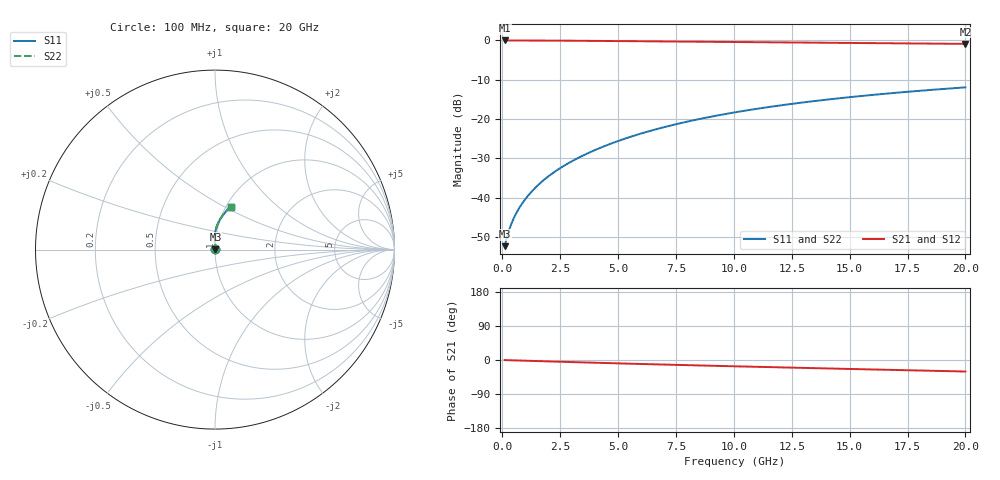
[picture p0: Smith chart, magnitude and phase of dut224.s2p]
! Touchstone file exported from HFSS 2024.1.0
!  File:  C:/UserFiles/LocalFiles/RDL_TSV_Batchsim/temp_RDL_bottom_224_1778700550.aedt
!  Generated:  03:31:32 AM May 14, 2026
!  Design:  RDL_bottom
!  Project:  temp_RDL_bottom_224_1778700550
!  Setup:  Setup1
!  Solution:  Sweep
! Variables:
!  dtsv = 10.80580581um
!  hbump = 3um
!  htsv = 52.51um
!  ldown = 449.67um
!  lrdl = 100um
!  p = 40
!  p1 = 48.57um
!  rhole = 1um
!  t = 450um
!  tdown = 3.03um
!  trdl = 3.915915916um
!  wdown = 28.08um
!  wrdl = 20um
# GHz S MA R 50.000000
! Terminal data exported
! Port[1] = RDL1_T1
! Port[2] = RDL1_T2
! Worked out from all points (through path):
!   200 points, 100 MHz to 20 GHz, reference 50 ohm
!   highest |S21| = -0.02 dB at 100 MHz (marker M1); lowest = -0.9 dB at 20 GHz (marker M2)
!   group delay of S21, straight-line fit = 4.15 ps
!   lowest |S11| = -52.3 dB at 100 MHz (marker M3), VSWR 1.00, Z = 50.2 + j0.112 ohm
!   |S11| at or under -10 dB: start of sweep to end of sweep
!   |S22| runs from -52.3 to -11.9 dB; largest |S21 - S12| = 3.7e-15
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0.1  0.002434 27.3  0.9978 -0.2  0.9978 -0.2  0.002434 27.3
! Gamma 0 0 0 0
! Port Impedance 50 0 50 0
0.2  0.003147 43.4  0.9977 -0.4  0.9977 -0.4  0.003147 43.4
0.3  0.003948 52.3  0.9975 -0.6  0.9975 -0.6  0.003948 52.3
0.4  0.004751 58.1  0.9973 -0.8  0.9973 -0.8  0.00475 58.1
0.5  0.00555 62.5  0.9971 -1.0  0.9971 -1.0  0.00555 62.5
0.6  0.006353 65.9  0.9969 -1.1  0.9969 -1.1  0.006353 66.0
0.8  0.007993 71.3  0.9966 -1.5  0.9966 -1.5  0.007993 71.3
1.2  0.01143 78.2  0.9959 -2.3  0.9959 -2.3  0.01143 78.2
1.7  0.01599 83.3  0.9947 -3.2  0.9947 -3.2  0.01599 83.3
2.2  0.02082 86.6  0.9932 -4.1  0.9932 -4.1  0.02082 86.6
2.8  0.02698 89.1  0.9909 -5.2  0.9909 -5.2  0.02698 89.1
3.5  0.03465 90.9  0.9879 -6.4  0.9879 -6.4  0.03465 90.9
4.2  0.04282 91.9  0.9845 -7.6  0.9845 -7.6  0.04282 91.9
5  0.0527 92.2  0.9803 -8.9  0.9803 -8.9  0.05271 92.2
5.9  0.06438 92.0  0.9754 -10.4  0.9754 -10.4  0.06439 92.0
6.8  0.07651 91.2  0.9703 -11.8  0.9703 -11.8  0.07652 91.2
8.4  0.09873 89.2  0.9614 -14.2  0.9614 -14.2  0.09874 89.2
10.1  0.1227 86.4  0.9522 -16.7  0.9522 -16.7  0.1227 86.4
11.7  0.1451 83.7  0.9439 -19.0  0.9439 -19.0  0.1451 83.7
13.4  0.1685 80.7  0.9353 -21.4  0.9353 -21.4  0.1686 80.7
16.7  0.2122 75.1  0.919 -26.0  0.919 -26.0  0.2123 75.1
20  0.2531 69.7  0.903 -30.4  0.903 -30.4  0.2531 69.7
